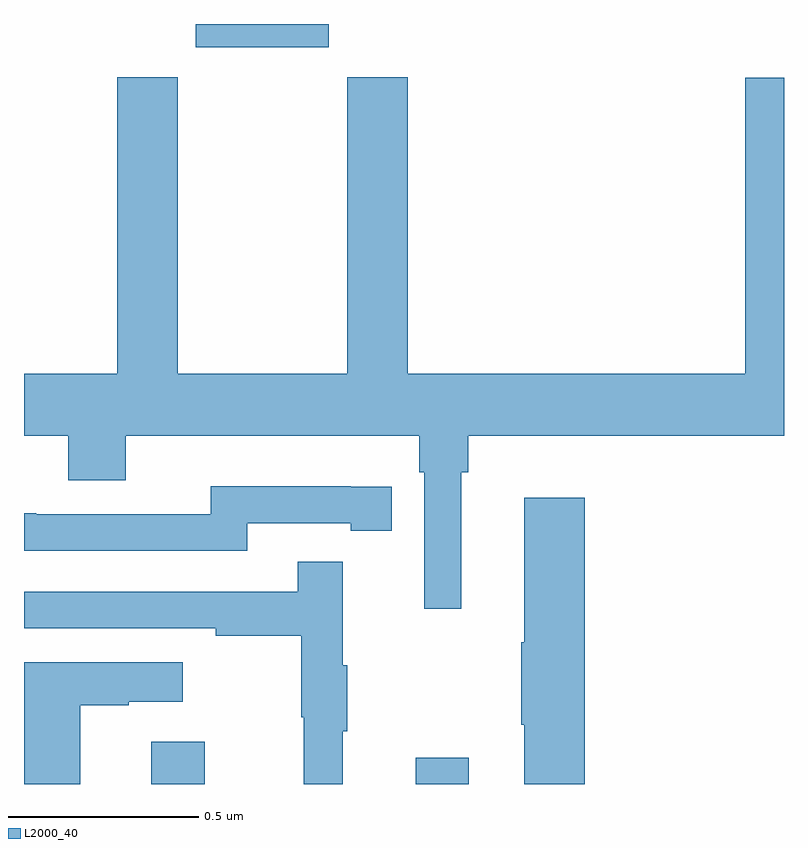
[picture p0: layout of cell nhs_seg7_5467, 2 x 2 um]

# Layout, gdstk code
import gdstk
lib = gdstk.Library(unit=1e-6, precision=1e-09)
def R(c, l, rs):  # rectangles x0, y0, x1, y1
    for r in rs: c.add(gdstk.rectangle(r[:2], r[2:], *l))
def P(c, l, *ps):  # polygons
    for p in ps: c.add(gdstk.Polygon(p, *l))
L2000_40 = (2000, 40)

nhs_seg7_5467 = lib.new_cell('nhs_seg7_5467')
R(nhs_seg7_5467, L2000_40, [(186.335,1033,186.475,1033.111), (187.031,1033,187.171,1033.069), (186.452,1034.939,186.802,1035)])
P(nhs_seg7_5467, L2000_40, [(187.15,1033.82),(187.169,1033.82),(187.169,1033.916),(188,1033.916),(188,1034.859),(187.898,1034.859),(187.898,1034.08),(187.01,1034.08),(187.01,1034.86),(186.85,1034.86),(186.85,1034.08),(186.405,1034.08),(186.405,1034.86),(186.245,1034.86),(186.245,1034.08),(186,1034.08),(186,1033.916),(186.116,1033.916),(186.116,1033.799),(186.268,1033.799),(186.268,1033.916),(187.04,1033.916),(187.04,1033.82),(187.053,1033.82),(187.053,1033.461),(187.15,1033.461)],
  [(186.588,1033.686),(186.86,1033.686),(186.86,1033.666),(186.968,1033.666),(186.968,1033.782),(186.86,1033.782),(186.86,1033.783),(186.492,1033.783),(186.492,1033.71),(186.032,1033.71),(186.032,1033.712),(186,1033.712),(186,1033.614),(186.588,1033.614)],
  [(187.475,1033.753),(187.316,1033.753),(187.316,1033.373),(187.309,1033.373),(187.309,1033.156),(187.316,1033.156),(187.316,1033),(187.475,1033)],
  [(186.839,1033.139),(186.85,1033.139),(186.85,1033.313),(186.839,1033.313),(186.839,1033.585),(186.721,1033.585),(186.721,1033.506),(186,1033.506),(186,1033.41),(186.505,1033.41),(186.505,1033.39),(186.729,1033.39),(186.729,1033.176),(186.736,1033.176),(186.736,1033),(186.839,1033)],
  [(186.148,1033.207),(186.275,1033.207),(186.275,1033.217),(186.418,1033.217),(186.418,1033.321),(186,1033.321),(186,1033),(186.148,1033)])

lib.write_gds('nhs_seg7_5467.gds')
